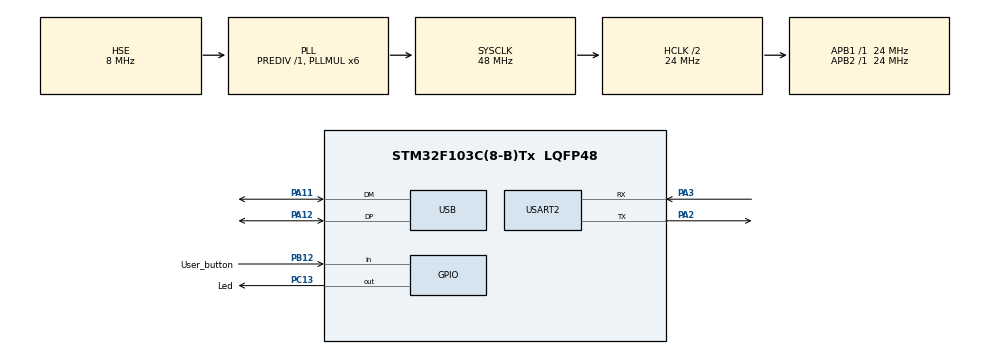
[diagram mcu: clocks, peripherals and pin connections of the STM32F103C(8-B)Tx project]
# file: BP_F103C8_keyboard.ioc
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Dma.Request0=USART2_RX
Dma.USART2_RX.0.Direction=DMA_PERIPH_TO_MEMORY
Dma.USART2_RX.0.Instance=DMA1_Channel6
Dma.USART2_RX.0.MemDataAlignment=DMA_MDATAALIGN_BYTE
Dma.USART2_RX.0.MemInc=DMA_MINC_ENABLE
Dma.USART2_RX.0.Mode=DMA_CIRCULAR
Dma.USART2_RX.0.PeriphDataAlignment=DMA_PDATAALIGN_BYTE
Dma.USART2_RX.0.PeriphInc=DMA_PINC_DISABLE
Dma.USART2_RX.0.Priority=DMA_PRIORITY_LOW
Mcu.Family=STM32F1
Mcu.Name=STM32F103C(8-B)Tx
Mcu.Package=LQFP48
NVIC.DMA1_Channel6_IRQn=true\:0\:0\:false\:false\:true\:false\:true
NVIC.PriorityGroup=NVIC_PRIORITYGROUP_4
NVIC.USART2_IRQn=true\:0\:0\:false\:false\:true\:true\:true
NVIC.USB_LP_CAN1_RX0_IRQn=true\:0\:0\:false\:false\:true\:false\:true
PA0-WKUP.Mode=SYS_WakeUp0
PA0-WKUP.Signal=SYS_WKUP
PA11.Mode=Device
PA11.Signal=USB_DM
PA12.Mode=Device
PA12.Signal=USB_DP
PA13.Mode=Serial_Wire
PA13.Signal=SYS_JTMS-SWDIO
PA14.Mode=Serial_Wire
PA14.Signal=SYS_JTCK-SWCLK
PA2.Mode=Asynchronous
PA2.Signal=USART2_TX
PA3.Mode=Asynchronous
PA3.Signal=USART2_RX
PB12.GPIO_Label=User_button
PB12.GPIO_PuPd=GPIO_PULLUP
PB12.Signal=GPIO_Input
PC13-TAMPER-RTC.GPIO_Label=Led
PC13-TAMPER-RTC.Signal=GPIO_Output
PD0-OSC_IN.Mode=HSE-External-Oscillator
PD0-OSC_IN.Signal=RCC_OSC_IN
PD1-OSC_OUT.Mode=HSE-External-Oscillator
PD1-OSC_OUT.Signal=RCC_OSC_OUT
ProjectManager.HeapSize=0x200
ProjectManager.StackSize=0x400
ProjectManager.TargetToolchain=STM32CubeIDE
RCC.AHBCLKDivider=RCC_SYSCLK_DIV2
RCC.AHBFreq_Value=24000000
RCC.APB1Freq_Value=24000000
RCC.APB1TimFreq_Value=24000000
RCC.APB2Freq_Value=24000000
RCC.APB2TimFreq_Value=24000000
RCC.HCLKFreq_Value=24000000
RCC.PLLMUL=RCC_PLL_MUL6
RCC.SYSCLKFreq_VALUE=48000000
RCC.SYSCLKSource=RCC_SYSCLKSOURCE_PLLCLK
RCC.USBFreq_Value=48000000
USART2.VirtualMode=VM_ASYNC
USB_DEVICE.CLASS_NAME_FS=HID
USB_DEVICE.MANUFACTURER_STRING=YG_logitech
USB_DEVICE.PID_HID_FS=0xC33F
USB_DEVICE.PRODUCT_STRING_HID_FS=YG_STM32 Human interface
USB_DEVICE.VID=0x046D
USB_DEVICE.VirtualMode=Hid
USB_DEVICE.VirtualModeFS=Hid_FS
VP_USB_DEVICE_VS_USB_DEVICE_HID_FS.Mode=HID_FS
board=custom

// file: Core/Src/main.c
/* USER CODE BEGIN Header */
/**
  ******************************************************************************
  * @file           : main.c
  * @brief          : Main program body
  ******************************************************************************
  * @attention
  *
  * Copyright (c) 2023 STMicroelectronics.
  * All rights reserved.
  *
  * This software is licensed under terms that can be found in the LICENSE file
  * in the root directory of this software component.
  * If no LICENSE file comes with this software, it is provided AS-IS.
  *
  ******************************************************************************
  */
/* USER CODE END Header */
#include "main.h"
#include "usb_device.h"

/* USER CODE BEGIN Includes */
#include "usbd_hid.h"
#include "keyboard.h"
/* USER CODE END Includes */

/* USER CODE BEGIN PD */
#define KEYS_BUFFER_SIZE 1024
/* USER CODE END PD */

UART_HandleTypeDef huart2;
DMA_HandleTypeDef hdma_usart2_rx;

/* USER CODE BEGIN PV */
extern USBD_HandleTypeDef hUsbDeviceFS;
uint8_t mouse_buffer[4];
uint8_t keyboard_buffer[8];
uint8_t wellcome[] = "Hello, I am a Yosi Keyboard";
uint8_t Uart_DMA_in_buffer[4];
uint8_t send_keys_buffer[KEYS_BUFFER_SIZE];
static uint16_t in_ptr=0;
static uint16_t out_ptr=0;

/* USER CODE END PV */

void SystemClock_Config(void);
static void MX_GPIO_Init(void);
static void MX_DMA_Init(void);
static void MX_USART2_UART_Init(void);
/* USER CODE BEGIN PFP */
void HAL_UART_RxCpltCallback(UART_HandleTypeDef *huart);
/* USER CODE END PFP */

/* USER CODE BEGIN 0 */
void mouse_move()
{
	  for(int i=0;i<6;i++)
	  {
		  USBD_HID_SendReport(&hUsbDeviceFS, mouse_buffer, 4);
		  HAL_Delay(25);
		  mouse_buffer[2] *= -1;
	  }
	  mouse_buffer[1] *= -1;
}
void keyboard_init()
{
	keyboard_buffer[0]=1;//reportID
	keyboard_buffer[1]=0;//modifier
	keyboard_buffer[2]=0;//OEM
	keyboard_buffer[3]=0;//keycode data
	keyboard_buffer[4]=0;//keycode data
	keyboard_buffer[5]=0;//keycode data
	keyboard_buffer[6]=0;//keycode data
	keyboard_buffer[7]=0;//keycode data
}
void keyboard_send_char(uint8_t tav)
{
	uint16_t modifier_and_key;
	uint8_t modifier = 0;
	uint8_t key = 0;

	modifier_and_key = ToHidKeyboardScancode(tav);
	modifier = modifier_and_key >> 8;
	key = modifier_and_key & 0xFF;

	keyboard_buffer[1]=modifier;//modifier (shift)
	keyboard_buffer[3]=key;//keycode data
	USBD_HID_SendReport(&hUsbDeviceFS,keyboard_buffer,8);
	HAL_Delay(30);
	keyboard_buffer[1]=0x0;//modifier
	keyboard_buffer[3]=0x0;//keycode data
	USBD_HID_SendReport(&hUsbDeviceFS,keyboard_buffer,8);
	HAL_Delay(30);

}
void keyboard_action()
{
	// Begin TODO 5 HID_KEYBOARD_HANDS_ON: Report PgDown press and release
	#warning "TODO 5 HID_KEYBOARD_HANDS_ON: Report PgDown press and release"
	//report keycode data - PgDwn press (0x4E)
	keyboard_buffer[3]=0x4E;//keycode data
	USBD_HID_SendReport(&hUsbDeviceFS,keyboard_buffer,8);
	HAL_Delay(100);
	keyboard_buffer[3]=0x0;//keycode data
	USBD_HID_SendReport(&hUsbDeviceFS,keyboard_buffer,8);
	HAL_Delay(100);
}
void keyboard_action2()
{
	for(int i=0;i<sizeof(wellcome);i++)
	{
		if(wellcome[i]!=0)
			keyboard_send_char(wellcome[i]);
		else
			break;
	}

}
void keyboard_action3()
{
	keyboard_buffer[1]=0x02;//modifier (shift)
	keyboard_buffer[3]=KEY_A;//keycode data
	USBD_HID_SendReport(&hUsbDeviceFS,keyboard_buffer,8);
	HAL_Delay(100);
	keyboard_buffer[1]=0x0;//modifier
	keyboard_buffer[3]=KEY_NONE;//keycode data
	USBD_HID_SendReport(&hUsbDeviceFS,keyboard_buffer,8);
	HAL_Delay(100);
}
void send_keys_handler()
{
	if(out_ptr != in_ptr)
	{
		// there are un-handled bytes from UART
		keyboard_send_char(send_keys_buffer[out_ptr]);
		out_ptr++;
		if(out_ptr == KEYS_BUFFER_SIZE)
		{
			out_ptr = 0;
		}
	}
}
void rt_buffer_save(uint8_t in_chr)
{

    send_keys_buffer[in_ptr] = in_chr;
    in_ptr++;
	if(in_ptr == KEYS_BUFFER_SIZE)
	{
		in_ptr = 0;
	}
}

void HAL_UART_RxCpltCallback(UART_HandleTypeDef *huart)
{
    if( Uart_DMA_in_buffer[0] >= 0x20 )
    {
    	rt_buffer_save(Uart_DMA_in_buffer[0]);
    }

	HAL_GPIO_TogglePin(Led_GPIO_Port, Led_Pin);
  //HAL_UART_Receive_DMA(&huart2, Rx_data, 4);
}

/* USER CODE END 0 */

int main(void)
{

  /* MCU Configuration--------------------------------------------------------*/

  /* Reset of all peripherals, Initializes the Flash interface and the Systick. */
  HAL_Init();

  /* Configure the system clock */
  SystemClock_Config();

  /* Initialize all configured peripherals */
  MX_GPIO_Init();
  MX_USB_DEVICE_Init();
  MX_DMA_Init();
  MX_USART2_UART_Init();
  /* USER CODE BEGIN 2 */
  mouse_buffer[1]=20;
  mouse_buffer[2]=10;
  keyboard_init();
  HAL_UART_Receive_DMA(&huart2, Uart_DMA_in_buffer, 1);
  /* USER CODE END 2 */

  /* Infinite loop */
  /* USER CODE BEGIN WHILE */
  GPIO_PinState last_state=1;
  while (1)
  {
    /* USER CODE END WHILE */

    /* USER CODE BEGIN 3 */
	  if( HAL_GPIO_ReadPin(User_button_GPIO_Port,User_button_Pin) != last_state && last_state==0)
	  {
		  HAL_GPIO_TogglePin(Led_GPIO_Port, Led_Pin);
		  // mouse_move();
		  keyboard_action2();
	  }
//	  else
//	  {
//		  HAL_Delay(100);
//	  }
	  last_state = HAL_GPIO_ReadPin(User_button_GPIO_Port,User_button_Pin);
	  HAL_Delay(50);
	  send_keys_handler();
  }
  /* USER CODE END 3 */
}

void SystemClock_Config(void)
{
  RCC_OscInitTypeDef RCC_OscInitStruct = {0};
  RCC_ClkInitTypeDef RCC_ClkInitStruct = {0};
  RCC_PeriphCLKInitTypeDef PeriphClkInit = {0};

  /** Initializes the RCC Oscillators according to the specified parameters
  * in the RCC_OscInitTypeDef structure.
  */
  RCC_OscInitStruct.OscillatorType = RCC_OSCILLATORTYPE_HSE;
  RCC_OscInitStruct.HSEState = RCC_HSE_ON;
  RCC_OscInitStruct.HSEPredivValue = RCC_HSE_PREDIV_DIV1;
  RCC_OscInitStruct.HSIState = RCC_HSI_ON;
  RCC_OscInitStruct.PLL.PLLState = RCC_PLL_ON;
  RCC_OscInitStruct.PLL.PLLSource = RCC_PLLSOURCE_HSE;
  RCC_OscInitStruct.PLL.PLLMUL = RCC_PLL_MUL6;
  if (HAL_RCC_OscConfig(&RCC_OscInitStruct) != HAL_OK)
  {
    Error_Handler();
  }
  /** Initializes the CPU, AHB and APB buses clocks
  */
  RCC_ClkInitStruct.ClockType = RCC_CLOCKTYPE_HCLK|RCC_CLOCKTYPE_SYSCLK
                              |RCC_CLOCKTYPE_PCLK1|RCC_CLOCKTYPE_PCLK2;
  RCC_ClkInitStruct.SYSCLKSource = RCC_SYSCLKSOURCE_PLLCLK;
  RCC_ClkInitStruct.AHBCLKDivider = RCC_SYSCLK_DIV2;
  RCC_ClkInitStruct.APB1CLKDivider = RCC_HCLK_DIV1;
  RCC_ClkInitStruct.APB2CLKDivider = RCC_HCLK_DIV1;

  if (HAL_RCC_ClockConfig(&RCC_ClkInitStruct, FLASH_LATENCY_1) != HAL_OK)
  {
    Error_Handler();
  }
  PeriphClkInit.PeriphClockSelection = RCC_PERIPHCLK_USB;
  PeriphClkInit.UsbClockSelection = RCC_USBCLKSOURCE_PLL;
  if (HAL_RCCEx_PeriphCLKConfig(&PeriphClkInit) != HAL_OK)
  {
    Error_Handler();
  }
}

static void MX_USART2_UART_Init(void)
{

  huart2.Instance = USART2;
  huart2.Init.BaudRate = 115200;
  huart2.Init.WordLength = UART_WORDLENGTH_8B;
  huart2.Init.StopBits = UART_STOPBITS_1;
  huart2.Init.Parity = UART_PARITY_NONE;
  huart2.Init.Mode = UART_MODE_TX_RX;
  huart2.Init.HwFlowCtl = UART_HWCONTROL_NONE;
  huart2.Init.OverSampling = UART_OVERSAMPLING_16;
  if (HAL_UART_Init(&huart2) != HAL_OK)
  {
    Error_Handler();
  }

}

static void MX_DMA_Init(void)
{

  /* DMA controller clock enable */
  __HAL_RCC_DMA1_CLK_ENABLE();

  /* DMA interrupt init */
  /* DMA1_Channel6_IRQn interrupt configuration */
  HAL_NVIC_SetPriority(DMA1_Channel6_IRQn, 0, 0);
  HAL_NVIC_EnableIRQ(DMA1_Channel6_IRQn);

}

static void MX_GPIO_Init(void)
{
  GPIO_InitTypeDef GPIO_InitStruct = {0};

  /* GPIO Ports Clock Enable */
  __HAL_RCC_GPIOC_CLK_ENABLE();
  __HAL_RCC_GPIOD_CLK_ENABLE();
  __HAL_RCC_GPIOA_CLK_ENABLE();
  __HAL_RCC_GPIOB_CLK_ENABLE();

  /*Configure GPIO pin Output Level */
  HAL_GPIO_WritePin(Led_GPIO_Port, Led_Pin, GPIO_PIN_RESET);

  /*Configure GPIO pin : Led_Pin */
  GPIO_InitStruct.Pin = Led_Pin;
  GPIO_InitStruct.Mode = GPIO_MODE_OUTPUT_PP;
  GPIO_InitStruct.Pull = GPIO_NOPULL;
  GPIO_InitStruct.Speed = GPIO_SPEED_FREQ_LOW;
  HAL_GPIO_Init(Led_GPIO_Port, &GPIO_InitStruct);

  /*Configure GPIO pin : User_button_Pin */
  GPIO_InitStruct.Pin = User_button_Pin;
  GPIO_InitStruct.Mode = GPIO_MODE_INPUT;
  GPIO_InitStruct.Pull = GPIO_PULLUP;
  HAL_GPIO_Init(User_button_GPIO_Port, &GPIO_InitStruct);

}

void Error_Handler(void)
{
  __disable_irq();
  while (1)
  {
  }
}
